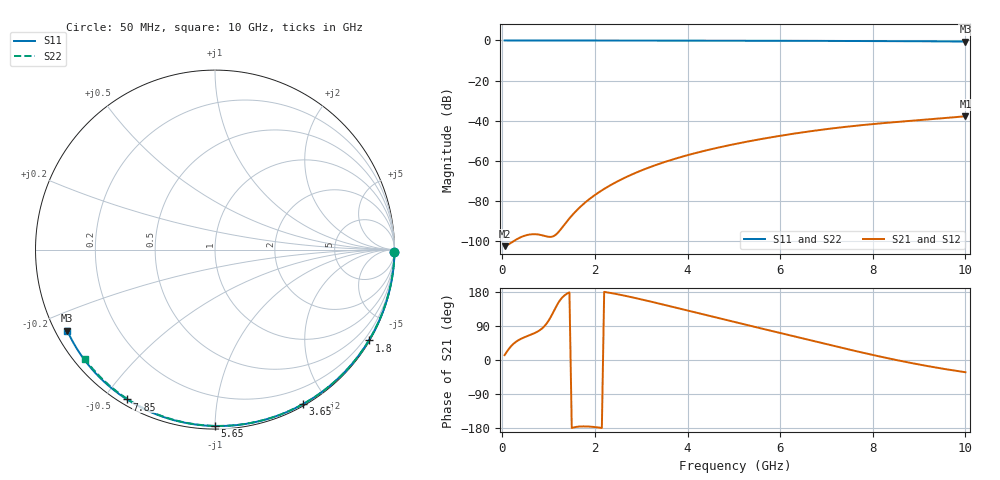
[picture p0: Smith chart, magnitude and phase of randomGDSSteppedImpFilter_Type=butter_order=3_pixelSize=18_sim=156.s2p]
! freq	dB(S11)	phase(S11)	dB(S12)	phase(S12)
!  dB(S21)	phase(S21)	dB(S22)	phase(S22)
!S-par simulation data
#  GHz  S  DB  R 50
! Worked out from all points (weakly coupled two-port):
!   200 points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, 50 MHz to 10 GHz, reference 50 ohm
!   highest |S21| = -37.77 dB at 10 GHz (marker M1); lowest = -102.5 dB at 50 MHz (marker M2)
!   lowest |S11| = -0.5 dB at 10 GHz (marker M3), VSWR 31.62, Z = 1.69 - j12.8 ohm
!   |S11| at or under -10 dB: nowhere
!   |S22| runs from -0.5 to 0.0 dB; largest |S21 - S12| = 0
!   S11 on the Smith chart (normalised r, x): 50 MHz: open; 1.8 GHz: 0.03, -3.66; 3.65 GHz: 0.02, -1.72; 5.65 GHz: 0.02, -1.00; 7.85 GHz: 0.02, -0.57; 10 GHz: 0.03, -0.26
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0.05  -0.00 -0.9  -102.53 12.9  -102.53 12.9  -0.00 -0.8
0.85  -0.01 -14.6  -97.04 82.3  -97.04 82.3  -0.02 -13.7
1.3  -0.03 -22.2  -93.02 165.6  -93.02 165.6  -0.03 -20.9
1.75  -0.04 -29.7  -81.57 -175.2  -81.57 -175.2  -0.04 -28.0
1.8  -0.04 -30.6  -80.58 -175.3  -80.58 -175.3  -0.04 -28.8
1.85  -0.04 -31.4  -79.64 -175.5  -79.64 -175.5  -0.04 -29.5
2.05  -0.04 -34.7  -76.23 -177.7  -76.23 -177.7  -0.04 -32.7
2.25  -0.05 -38.0  -73.29 178.8  -73.29 178.8  -0.05 -35.8
2.55  -0.06 -42.9  -69.50 172.0  -69.50 172.0  -0.05 -40.4
2.95  -0.06 -49.3  -65.30 161.4  -65.30 161.4  -0.06 -46.5
3.4  -0.07 -56.5  -61.40 148.5  -61.40 148.5  -0.07 -53.2
3.65  -0.08 -60.4  -59.53 141.1  -59.53 141.1  -0.08 -56.9
4.3  -0.10 -70.3  -55.37 121.6  -55.37 121.6  -0.09 -66.3
5.05  -0.13 -81.5  -51.50 99.2  -51.50 99.2  -0.12 -76.8
5.65  -0.15 -90.2  -48.89 81.6  -48.89 81.6  -0.14 -85.0
6.15  -0.17 -97.2  -46.97 66.8  -46.97 66.8  -0.16 -91.7
6.7  -0.20 -104.8  -45.11 50.6  -45.11 50.6  -0.19 -98.9
7.25  -0.24 -112.3  -43.49 34.5  -43.49 34.5  -0.22 -106.0
7.85  -0.28 -120.4  -42.01 17.5  -42.01 17.5  -0.27 -113.5
8.35  -0.33 -127.2  -40.95 4.0  -40.95 4.0  -0.31 -119.7
9.2  -0.42 -139.0  -39.36 -16.4  -39.36 -16.4  -0.38 -130.1
10  -0.55 -151.2  -37.77 -32.2  -37.77 -32.2  -0.47 -139.9
